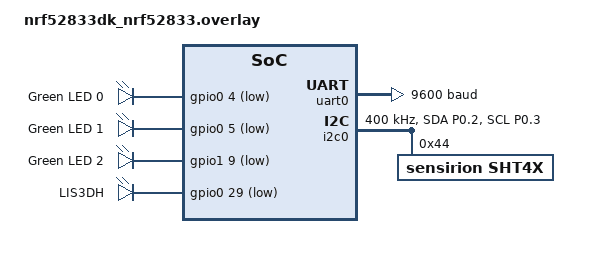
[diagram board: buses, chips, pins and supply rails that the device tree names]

&uart0 {
	status = "okay";
	current-speed = < 9600 >; /* Default 115200 */
};


&i2c0 {
	status = "okay";
	clock-frequency = <I2C_BITRATE_FAST>;
	sht4x@44 {
		status = "okay";
		compatible = "sensirion,sht4x";
		reg = <0x44>;
		repeatability = <2>;
	};
	// sgp40@59 {
	// 	status = "okay";
	// 	compatible = "sensirion,sgp40";
	// 	reg = <0x59>;
	// 	enable-selftest;
	// };
};


/{leds {
		compatible = "gpio-leds";
		led0: led_0 {
			gpios = <&gpio0 4 GPIO_ACTIVE_LOW>;
			label = "Green LED 0";
		};
		led1: led_1 {
			gpios = <&gpio0 5 GPIO_ACTIVE_LOW>;
			label = "Green LED 1";
		};
		led2: led_2 {
			gpios = <&gpio1 9 GPIO_ACTIVE_LOW>;
			label = "Green LED 2";
		};
		led3: led_3 {
			gpios = <&gpio0 29 GPIO_ACTIVE_LOW>;
			label = "LIS3DH";
		};
	};
	aliases {
		led0 = &led0;
		led1 = &led1;
		led2 = &led2;
		led3 = &led3;
	};
};

&i2c0 {
	compatible = "nordic,nrf-twi";
	status = "okay";
	pinctrl-0 = <&i2c0_default>;
	pinctrl-1 = <&i2c0_sleep>;
	pinctrl-names = "default", "sleep";
};
&pinctrl {
	i2c0_default: i2c0_default {
		group1 {
			psels = <NRF_PSEL(TWIM_SDA, 0, 2)>,
					<NRF_PSEL(TWIM_SCL, 0, 3)>;
		};
	};

	i2c0_sleep: i2c0_sleep {
		group1 {
			psels = <NRF_PSEL(TWIM_SDA, 0, 2)>,
					<NRF_PSEL(TWIM_SCL, 0, 3)>;
			low-power-enable;
		};
	};
	uart0_default: uart0_default {
		group1 {
			psels = <NRF_PSEL(UART_TX, 0, 15)>;
		};
		group2 {
			psels = <NRF_PSEL(UART_RX, 0,17)>;
			bias-pull-up;
		};
	};

	uart0_sleep: uart0_sleep {
		group1 {
			psels = <NRF_PSEL(UART_TX, 0, 15)>,
					<NRF_PSEL(UART_RX, 0, 17)>;
			low-power-enable;
		};
	};

};




